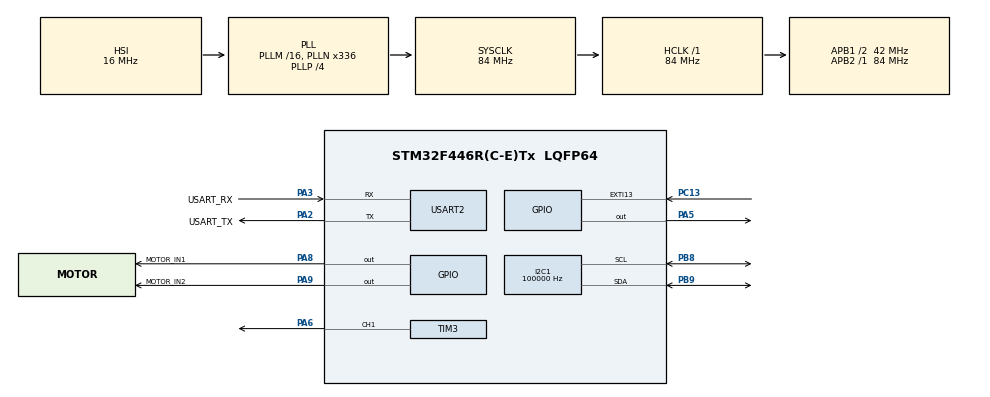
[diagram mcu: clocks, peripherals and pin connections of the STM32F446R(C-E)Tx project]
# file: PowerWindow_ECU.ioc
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FREERTOS.Queues01=windowCommandQueue,8,uint32_t,0,Dynamic,NULL,NULL
FREERTOS.Tasks01=InputTask,24,256,StartInputTask,Default,NULL,Dynamic,NULL,NULL;ControlTask,32,256,StartControlTask,Default,NULL,Dynamic,NULL,NULL;DiagTask,8,256,StartDiagTask,Default,NULL,Dynamic,NULL,NULL;CurrentTask,24,256,StartCurrentSenseTask,Default,NULL,Dynamic,NULL,NULL
FREERTOS.configUSE_NEWLIB_REENTRANT=1
I2C1.ClockSpeed=100000
Mcu.Family=STM32F4
Mcu.Name=STM32F446R(C-E)Tx
Mcu.Package=LQFP64
NUCLEO-F446RE.BUTTON=1
NUCLEO-F446RE.LD1=true
NVIC.EXTI15_10_IRQn=true\:5\:0\:false\:false\:true\:true\:false\:true\:true
NVIC.PriorityGroup=NVIC_PRIORITYGROUP_4
NVIC.TIM6_DAC_IRQn=true\:15\:0\:false\:false\:true\:false\:false\:true\:true
NVIC.TimeBase=TIM6_DAC_IRQn
NVIC.TimeBaseIP=TIM6
PA13.GPIO_Label=TMS
PA13.Signal=SYS_JTMS-SWDIO
PA14.GPIO_Label=TCK
PA14.Signal=SYS_JTCK-SWCLK
PA2.GPIO_Label=USART_TX
PA2.Mode=Asynchronous
PA2.Signal=USART2_TX
PA3.GPIO_Label=USART_RX
PA3.Mode=Asynchronous
PA3.Signal=USART2_RX
PA5.Signal=GPIO_Output
PA6.Signal=S_TIM3_CH1
PA8.GPIO_Label=MOTOR_IN1
PA8.Signal=GPIO_Output
PA9.GPIO_Label=MOTOR_IN2
PA9.Signal=GPIO_Output
PB3.GPIO_Label=SWO
PB3.Signal=SYS_JTDO-SWO
PB8.Mode=I2C
PB8.Signal=I2C1_SCL
PB9.Mode=I2C
PB9.Signal=I2C1_SDA
PC13.Signal=GPXTI13
PC14-OSC32_IN.Signal=RCC_OSC32_IN
PC15-OSC32_OUT.Signal=RCC_OSC32_OUT
PH0-OSC_IN.Signal=RCC_OSC_IN
PH1-OSC_OUT.Signal=RCC_OSC_OUT
ProjectManager.HeapSize=0x200
ProjectManager.StackSize=0x400
ProjectManager.TargetToolchain=STM32CubeIDE
RCC.AHBFreq_Value=84000000
RCC.APB1CLKDivider=RCC_HCLK_DIV2
RCC.APB1Freq_Value=42000000
RCC.APB1TimFreq_Value=84000000
RCC.APB2Freq_Value=84000000
RCC.APB2TimFreq_Value=84000000
RCC.CortexFreq_Value=84000000
RCC.FLatency-AdvancedSettings=FLASH_LATENCY_2
RCC.HCLKFreq_Value=84000000
RCC.HSE_VALUE=8000000
RCC.HSI_VALUE=16000000
RCC.LSE_VALUE=32768
RCC.PLLN=336
RCC.PLLP=RCC_PLLP_DIV4
RCC.SYSCLKFreq_VALUE=84000000
RCC.SYSCLKSource=RCC_SYSCLKSOURCE_PLLCLK
RCC.USBFreq_Value=168000000
RCC.VCOOutputFreq_Value=336000000
SH.S_TIM3_CH1.0=TIM3_CH1,PWM Generation1 CH1
TIM3.Channel-PWM\ Generation1\ CH1=TIM_CHANNEL_1
TIM3.Period=4199
USART2.VirtualMode=VM_ASYNC
VP_FREERTOS_VS_CMSIS_V2.Mode=CMSIS_V2
VP_NUCLEO-F446RE_VS_BSP_COMMON.Mode=COMMON
VP_SYS_VS_tim6.Mode=TIM6
board=NUCLEO-F446RE

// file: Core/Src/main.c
/* USER CODE BEGIN Header */
/**
  ******************************************************************************
  * @file           : main.c
  * @brief          : Main program body
  ******************************************************************************
  * @attention
  *
  * Copyright (c) 2026 STMicroelectronics.
  * All rights reserved.
  *
  * This software is licensed under terms that can be found in the LICENSE file
  * in the root directory of this software component.
  * If no LICENSE file comes with this software, it is provided AS-IS.
  *
  ******************************************************************************
  */
/* USER CODE END Header */
#include "main.h"
#include "cmsis_os.h"

/* USER CODE BEGIN Includes */
#include <stdio.h>
#include <string.h>
#include <stdlib.h>

/* USER CODE END Includes */

/* USER CODE BEGIN PTD */
typedef enum
{
	WINDOW_IDLE,
	WINDOW_MANUAL_UP,
	WINDOW_MANUAL_DOWN,
	WINDOW_AUTO_UP,
	WINDOW_AUTO_DOWN,
	WINDOW_ANTI_PINCH_REVERSE,
	WINDOW_FAULT
}WindowState_t;

typedef enum
{
	WINDOW_CMD_NONE = 0,
	WINDOW_CMD_TOGGLE,
	WINDOW_CMD_ANTI_PINCH
}WindowCommand_t;

/* USER CODE END PTD */

/* USER CODE BEGIN PD */
#define INA219_ADDR (0x40 << 1)

#define INA219_REG_SHUNT 0x01
#define INA219_REG_BUS 0x02

//#define ANTI_PINCH_THRESHOLD_MA_X10 800
#define ANTI_PINCH_COUNT_LIMIT 		3
#define ANTI_PINCH_BLANKING_MS 		300
#define ANTI_PINCH_REVERSE_MS 		1000
#define BASELINE_LEARNING_MS        1000
#define CURRENT_DELTA_THRESHOLD_X10 100
#define CURRENT_SLOPE_THRESHOLD_X10 80   // 8.0 mA/sample

#define CURRENT_FILTER_SIZE 5

/* USER CODE END PD */

I2C_HandleTypeDef hi2c1;

TIM_HandleTypeDef htim3;

UART_HandleTypeDef huart2;

/* Definitions for InputTask */
osThreadId_t InputTaskHandle;
const osThreadAttr_t InputTask_attributes = {
  .name = "InputTask",
  .stack_size = 256 * 4,
  .priority = (osPriority_t) osPriorityNormal,
};
/* Definitions for ControlTask */
osThreadId_t ControlTaskHandle;
const osThreadAttr_t ControlTask_attributes = {
  .name = "ControlTask",
  .stack_size = 256 * 4,
  .priority = (osPriority_t) osPriorityAboveNormal,
};
/* Definitions for DiagTask */
osThreadId_t DiagTaskHandle;
const osThreadAttr_t DiagTask_attributes = {
  .name = "DiagTask",
  .stack_size = 256 * 4,
  .priority = (osPriority_t) osPriorityLow,
};
/* Definitions for CurrentTask */
osThreadId_t CurrentTaskHandle;
const osThreadAttr_t CurrentTask_attributes = {
  .name = "CurrentTask",
  .stack_size = 256 * 4,
  .priority = (osPriority_t) osPriorityNormal,
};
/* Definitions for windowCommandQueue */
osMessageQueueId_t windowCommandQueueHandle;
const osMessageQueueAttr_t windowCommandQueue_attributes = {
  .name = "windowCommandQueue"
};
/* USER CODE BEGIN PV */
WindowState_t windowState = WINDOW_IDLE;

uint32_t prevButtonState = 0;
uint32_t lastButtonTick = 0;
uint32_t lastLedTick = 0;

uint32_t motorStartTick = 0;
uint8_t motorStarting = 0;
uint8_t motorRunning = 0;

uint8_t nextDirectionUp = 1;

uint32_t antiPinchStartTick = 0;

int32_t currentBuffer[CURRENT_FILTER_SIZE] = {0};
uint8_t currentIndex = 0;
uint8_t currentCount = 0;
int32_t currentSum = 0;
int32_t prevFilteredCurrent = 0;

int32_t baselineCurrent = 0;
int32_t baselineSum = 0;
uint16_t baselineCount = 0;
uint8_t baselineReady = 0;

/* USER CODE END PV */

void SystemClock_Config(void);
static void MX_GPIO_Init(void);
static void MX_USART2_UART_Init(void);
static void MX_TIM3_Init(void);
static void MX_I2C1_Init(void);
void StartInputTask(void *argument);
void StartControlTask(void *argument);
void StartDiagTask(void *argument);

/* USER CODE BEGIN PFP */
void Window_SetState(WindowState_t newState);
void Window_ButtonProcess(void);
void Window_ControlTask(void);

void Motor_SetDuty(uint8_t duty);
void Motor_Stop(void);
void Motor_RunUp(void);
void Motor_RunDown(void);

/* USER CODE END PFP */

/* USER CODE BEGIN 0 */
HAL_StatusTypeDef INA219_ReadRegister(uint8_t reg, uint16_t *value)
{
	uint8_t data[2];

	HAL_StatusTypeDef status = HAL_I2C_Mem_Read(&hi2c1, INA219_ADDR, reg, I2C_MEMADD_SIZE_8BIT, data, 2, 100);

	if (status == HAL_OK)
	{
		*value = ((uint16_t)data[0] << 8) | data[1];
	}

	return status;
}

int16_t INA219_ReadShuntRaw(void)
{
	uint16_t value = 0;

	if (INA219_ReadRegister(INA219_REG_SHUNT, &value) != HAL_OK)
	{
		return 0;
	}

	return (int16_t)value;
}

uint16_t INA219_ReadBusVoltage_mV(void)
{
	uint16_t raw = 0;

	if (INA219_ReadRegister(INA219_REG_BUS, &raw) != HAL_OK)
	{
		return 0;
	}

	raw >>= 3;

	return raw * 4;
}

void Current_FilterReset(void)
{
    for (int i = 0; i < CURRENT_FILTER_SIZE; i++)
    {
        currentBuffer[i] = 0;
    }

    currentIndex = 0;
    currentCount = 0;
    currentSum = 0;
    prevFilteredCurrent = 0;
}

int32_t Current_MovingAverage(int32_t newValue)
{
    currentSum -= currentBuffer[currentIndex];

    currentBuffer[currentIndex] = newValue;

    currentSum += newValue;

	currentIndex++;

	if (currentIndex >= CURRENT_FILTER_SIZE)
	{
		currentIndex = 0;
	}

	if (currentCount < CURRENT_FILTER_SIZE)
	{
		currentCount++;
	}

	return currentSum / currentCount;
}

void StartCurrentSenseTask(void *argument)
{
    char msg[] = "[RTOS] CurrentSenseTask Started\r\n";

    HAL_UART_Transmit(&huart2,
                      (uint8_t *)msg,
                      sizeof(msg) - 1,
                      HAL_MAX_DELAY);

    uint8_t overCurrentCount = 0;

    for (;;)
    {
        int16_t shuntRaw = INA219_ReadShuntRaw();
        int32_t current_mA_x10 = shuntRaw;

        if (windowState == WINDOW_MANUAL_UP)
        {
            uint32_t elapsed =
                HAL_GetTick() - motorStartTick;

            if (elapsed >= ANTI_PINCH_BLANKING_MS)
            {
                int32_t filteredCurrent = Current_MovingAverage(current_mA_x10);

                int32_t currentSlope = filteredCurrent - prevFilteredCurrent;

                prevFilteredCurrent = filteredCurrent;

                /*
                 * 1. Baseline 학습 구간
                 * 300 ms ~ 1300 ms
                 */
                if (elapsed <
                    ANTI_PINCH_BLANKING_MS +
                    BASELINE_LEARNING_MS)
                {
                    baselineSum += filteredCurrent;
                    baselineCount++;

                    baselineCurrent =
                        baselineSum / baselineCount;

                    overCurrentCount = 0;

                    char dbg[120];

					snprintf(
						dbg,
						sizeof(dbg),
						"[LEARN] Filtered=%ld.%01ld mA, Baseline=%ld.%01ld mA\r\n",
						filteredCurrent / 10,
						labs(filteredCurrent % 10),
						baselineCurrent / 10,
						labs(baselineCurrent % 10));

					HAL_UART_Transmit(
						&huart2,
						(uint8_t *)dbg,
						strlen(dbg),
						HAL_MAX_DELAY);
                }

                /*
                 * 2. Baseline 학습 완료
                 */
                else
                {
                    if (baselineReady == 0)
                    {
                        baselineReady = 1;

                        char dbg[100];

                        snprintf(
                            dbg,
                            sizeof(dbg),
                            "[BASELINE] Ready = %ld.%01ld mA\r\n",
                            baselineCurrent / 10,
                            labs(baselineCurrent % 10));

                        HAL_UART_Transmit(
                            &huart2,
                            (uint8_t *)dbg,
                            strlen(dbg),
                            HAL_MAX_DELAY);
                    }

                    int32_t threshold =
                        baselineCurrent +
                        CURRENT_DELTA_THRESHOLD_X10;

                    char dbg[140];

                    snprintf(dbg,
                             sizeof(dbg),
                             "[CURRENT] Raw=%ld.%01ld, Filt=%ld.%01ld, "
                             "Base=%ld.%01ld, Th=%ld.%01ld, dI=%ld.%01ld, Count=%u\r\n",

                             current_mA_x10 / 10,
                             labs(current_mA_x10 % 10),

                             filteredCurrent / 10,
                             labs(filteredCurrent % 10),

                             baselineCurrent / 10,
                             labs(baselineCurrent % 10),

                             threshold / 10,
                             labs(threshold % 10),

                             currentSlope / 10,
                             labs(currentSlope % 10),

                             overCurrentCount);

                    HAL_UART_Transmit(
                        &huart2,
                        (uint8_t *)dbg,
                        strlen(dbg),
                        HAL_MAX_DELAY);

                    /*
                     * 3. Adaptive anti-pinch 판단
                     */
                    if (filteredCurrent >= threshold)
                    {
                        overCurrentCount++;

                        if (overCurrentCount >=
                            ANTI_PINCH_COUNT_LIMIT)
                        {
                            WindowCommand_t cmd =
                                WINDOW_CMD_ANTI_PINCH;

                            osStatus_t status =
                                osMessageQueuePut(
                                    windowCommandQueueHandle,
                                    &cmd,
                                    0,
                                    0);

                            if (status == osOK)
                            {
                                char msg[] =
                                    "[ANTI-PINCH] EVENT QUEUED\r\n";

                                HAL_UART_Transmit(
                                    &huart2,
                                    (uint8_t *)msg,
                                    sizeof(msg) - 1,
                                    HAL_MAX_DELAY);
                            }

                            overCurrentCount = 0;
                        }
                    }
                    else
                    {
                        overCurrentCount = 0;
                    }
                }
            }
            else
            {
                overCurrentCount = 0;
            }
        }
        else
        {
            overCurrentCount = 0;
        }

        osDelay(50);
    }
}

void Window_SetState(WindowState_t newState)
{
	windowState = newState;

	switch(windowState)
	{
	case WINDOW_IDLE:
	{
		char msg[] = "[WINDOW] IDLE\r\n";

		HAL_UART_Transmit(&huart2, (uint8_t *)msg, sizeof(msg)-1, HAL_MAX_DELAY);

		break;
	}

	case WINDOW_MANUAL_UP:
	{

		char msg[] = "[WINDOW] MANUAL_UP\r\n";

		HAL_UART_Transmit(&huart2, (uint8_t *)msg, sizeof(msg)-1, HAL_MAX_DELAY);

		Current_FilterReset();

	    baselineCurrent = 0;
	    baselineSum = 0;
	    baselineCount = 0;
	    baselineReady = 0;

		break;
	}

	case WINDOW_MANUAL_DOWN:
	{
		char msg[] = "[WINDOW] MANUAL_DOWN\r\n";

		HAL_UART_Transmit(&huart2, (uint8_t *)msg, sizeof(msg)-1, HAL_MAX_DELAY);

		break;
	}

	case WINDOW_ANTI_PINCH_REVERSE:
	{
		char msg[] = "[WINDOW] ANTI_PINCH_REVERSE\r\n";

		HAL_UART_Transmit(&huart2, (uint8_t *)msg, sizeof(msg)-1, HAL_MAX_DELAY);

		Motor_Stop();
		antiPinchStartTick = HAL_GetTick();

		break;
	}
	default:
		break;
	}

}

void Window_ButtonProcess(void)
{
	uint32_t now = HAL_GetTick();
	uint32_t buttonState = BSP_PB_GetState(BUTTON_USER);

	if ((buttonState == 1) && (prevButtonState == 0) && (now - lastButtonTick >= 50))
	{
		lastButtonTick = now;

		WindowCommand_t cmd = WINDOW_CMD_TOGGLE;

		osMessageQueuePut(windowCommandQueueHandle, &cmd, 0, 0);
	}

	prevButtonState = buttonState;
}

void Window_ControlTask(void)
{
	switch (windowState)
	{
	case WINDOW_IDLE:
		Motor_Stop();
		break;

	case WINDOW_MANUAL_UP:
		Motor_RunUp();

		if(motorStarting && (HAL_GetTick() - motorStartTick >= 200))
		{
			Motor_SetDuty(50); //30
			motorStarting = 0;
		}
		break;

	case WINDOW_MANUAL_DOWN:
		Motor_RunDown();

		if (motorStarting && (HAL_GetTick() - motorStartTick >= 200))
		{
			Motor_SetDuty(30);
			motorStarting = 0;
		}

		break;

	case WINDOW_AUTO_UP:
		Motor_RunUp();
		break;

	case WINDOW_AUTO_DOWN:
		Motor_RunDown();
		break;

	case WINDOW_ANTI_PINCH_REVERSE:
		Motor_RunDown();

		if(HAL_GetTick() - antiPinchStartTick >= ANTI_PINCH_REVERSE_MS)
		{
			Window_SetState(WINDOW_IDLE);
		}
		break;

	case WINDOW_FAULT:
		Motor_Stop();
		break;

	default:
		Motor_Stop();
		Window_SetState(WINDOW_FAULT);
		break;
	}

}

void Motor_SetDuty(uint8_t duty)
{
	if (duty > 100)
	{
		duty = 100;
	}

	uint32_t period = __HAL_TIM_GET_AUTORELOAD(&htim3) + 1;
	uint32_t pulse = (period * duty) / 100;

	__HAL_TIM_SET_COMPARE(&htim3, TIM_CHANNEL_1, pulse);
}

void Motor_RunUp(void)
{
    HAL_GPIO_WritePin(MOTOR_IN1_GPIO_Port,
                      MOTOR_IN1_Pin,
                      GPIO_PIN_SET);

    HAL_GPIO_WritePin(MOTOR_IN2_GPIO_Port,
                      MOTOR_IN2_Pin,
                      GPIO_PIN_RESET);

    if (motorRunning == 0)
    {
    	Motor_SetDuty(50);
    	motorStartTick = HAL_GetTick();
    	motorStarting = 1;
    	motorRunning = 1;
    }
}

void Motor_RunDown(void)
{
    HAL_GPIO_WritePin(MOTOR_IN1_GPIO_Port,
                      MOTOR_IN1_Pin,
                      GPIO_PIN_RESET);

    HAL_GPIO_WritePin(MOTOR_IN2_GPIO_Port,
                      MOTOR_IN2_Pin,
                      GPIO_PIN_SET);

    if (motorRunning == 0)
    {
    	 Motor_SetDuty(50);

    	 motorStartTick = HAL_GetTick();
    	 motorStarting = 1;
    	 motorRunning = 1;

    }

}

void Motor_Stop(void)
{
    Motor_SetDuty(0);

    HAL_GPIO_WritePin(MOTOR_IN1_GPIO_Port,
                      MOTOR_IN1_Pin,
                      GPIO_PIN_RESET);

    HAL_GPIO_WritePin(MOTOR_IN2_GPIO_Port,
                      MOTOR_IN2_Pin,
                      GPIO_PIN_RESET);

    motorStarting = 0;
    motorRunning = 0;
}

/* USER CODE END 0 */

int main(void)
{

  /* MCU Configuration--------------------------------------------------------*/

  /* Reset of all peripherals, Initializes the Flash interface and the Systick. */
  HAL_Init();

  /* Configure the system clock */
  SystemClock_Config();

  /* Initialize all configured peripherals */
  MX_GPIO_Init();
  MX_USART2_UART_Init();
  MX_TIM3_Init();
  MX_I2C1_Init();
  /* USER CODE BEGIN 2 */

  char msg[] = "PowerWindow ECU Started\r\n";

  HAL_UART_Transmit(&huart2, (uint8_t *)msg, sizeof(msg) - 1, HAL_MAX_DELAY);

  HAL_TIM_PWM_Start(&htim3, TIM_CHANNEL_1);

  if (HAL_I2C_IsDeviceReady(&hi2c1,
                            INA219_ADDR,
                            3,
                            100) == HAL_OK)
  {
      char msg[] = "[INA219] Device Ready\r\n";

      HAL_UART_Transmit(&huart2,
                        (uint8_t *)msg,
                        sizeof(msg) - 1,
                        HAL_MAX_DELAY);
  }
  else
  {
      char msg[] = "[INA219] Device NOT Ready\r\n";

      HAL_UART_Transmit(&huart2,
                        (uint8_t *)msg,
                        sizeof(msg) - 1,
                        HAL_MAX_DELAY);
  }

  /* USER CODE END 2 */

  /* Init scheduler */
  osKernelInitialize();

  /* Create the queue(s) */
  /* creation of windowCommandQueue */
  windowCommandQueueHandle = osMessageQueueNew (8, sizeof(uint32_t), &windowCommandQueue_attributes);

  /* Create the thread(s) */
  /* creation of InputTask */
  InputTaskHandle = osThreadNew(StartInputTask, NULL, &InputTask_attributes);

  /* creation of ControlTask */
  ControlTaskHandle = osThreadNew(StartControlTask, NULL, &ControlTask_attributes);

  /* creation of DiagTask */
  DiagTaskHandle = osThreadNew(StartDiagTask, NULL, &DiagTask_attributes);

  /* creation of CurrentTask */
  CurrentTaskHandle = osThreadNew(StartCurrentSenseTask, NULL, &CurrentTask_attributes);

  /* Initialize leds */
  BSP_LED_Init(LED2);

  /* Initialize USER push-button, will be used to trigger an interrupt each time it's pressed.*/
  BSP_PB_Init(BUTTON_USER, BUTTON_MODE_GPIO);

  /* Start scheduler */
  osKernelStart();

  /* We should never get here as control is now taken by the scheduler */

  /* Infinite loop */
  /* USER CODE BEGIN WHILE */
  while (1)
  {

	  uint32_t now = HAL_GetTick();
	  /* LED periodic task : 500ms */
	  if (now - lastLedTick >= 500)
	  {
		  lastLedTick = now;
		  BSP_LED_Toggle(LED2);
	  }

    /* USER CODE END WHILE */

  }
}

void SystemClock_Config(void)
{
  RCC_OscInitTypeDef RCC_OscInitStruct = {0};
  RCC_ClkInitTypeDef RCC_ClkInitStruct = {0};

  /** Configure the main internal regulator output voltage
  */
  __HAL_RCC_PWR_CLK_ENABLE();
  __HAL_PWR_VOLTAGESCALING_CONFIG(PWR_REGULATOR_VOLTAGE_SCALE3);

  /** Initializes the RCC Oscillators according to the specified parameters
  * in the RCC_OscInitTypeDef structure.
  */
  RCC_OscInitStruct.OscillatorType = RCC_OSCILLATORTYPE_HSI;
  RCC_OscInitStruct.HSIState = RCC_HSI_ON;
  RCC_OscInitStruct.HSICalibrationValue = RCC_HSICALIBRATION_DEFAULT;
  RCC_OscInitStruct.PLL.PLLState = RCC_PLL_ON;
  RCC_OscInitStruct.PLL.PLLSource = RCC_PLLSOURCE_HSI;
  RCC_OscInitStruct.PLL.PLLM = 16;
  RCC_OscInitStruct.PLL.PLLN = 336;
  RCC_OscInitStruct.PLL.PLLP = RCC_PLLP_DIV4;
  RCC_OscInitStruct.PLL.PLLQ = 2;
  RCC_OscInitStruct.PLL.PLLR = 2;
  if (HAL_RCC_OscConfig(&RCC_OscInitStruct) != HAL_OK)
  {
    Error_Handler();
  }

  /** Initializes the CPU, AHB and APB buses clocks
  */
  RCC_ClkInitStruct.ClockType = RCC_CLOCKTYPE_HCLK|RCC_CLOCKTYPE_SYSCLK
                              |RCC_CLOCKTYPE_PCLK1|RCC_CLOCKTYPE_PCLK2;
  RCC_ClkInitStruct.SYSCLKSource = RCC_SYSCLKSOURCE_PLLCLK;
  RCC_ClkInitStruct.AHBCLKDivider = RCC_SYSCLK_DIV1;
  RCC_ClkInitStruct.APB1CLKDivider = RCC_HCLK_DIV2;
  RCC_ClkInitStruct.APB2CLKDivider = RCC_HCLK_DIV1;

  if (HAL_RCC_ClockConfig(&RCC_ClkInitStruct, FLASH_LATENCY_2) != HAL_OK)
  {
    Error_Handler();
  }
}

static void MX_I2C1_Init(void)
{

  hi2c1.Instance = I2C1;
  hi2c1.Init.ClockSpeed = 100000;
  hi2c1.Init.DutyCycle = I2C_DUTYCYCLE_2;
  hi2c1.Init.OwnAddress1 = 0;
  hi2c1.Init.AddressingMode = I2C_ADDRESSINGMODE_7BIT;
  hi2c1.Init.DualAddressMode = I2C_DUALADDRESS_DISABLE;
  hi2c1.Init.OwnAddress2 = 0;
  hi2c1.Init.GeneralCallMode = I2C_GENERALCALL_DISABLE;
  hi2c1.Init.NoStretchMode = I2C_NOSTRETCH_DISABLE;
  if (HAL_I2C_Init(&hi2c1) != HAL_OK)
  {
    Error_Handler();
  }

}

static void MX_TIM3_Init(void)
{

  TIM_MasterConfigTypeDef sMasterConfig = {0};
  TIM_OC_InitTypeDef sConfigOC = {0};

  htim3.Instance = TIM3;
  htim3.Init.Prescaler = 0;
  htim3.Init.CounterMode = TIM_COUNTERMODE_UP;
  htim3.Init.Period = 4199;
  htim3.Init.ClockDivision = TIM_CLOCKDIVISION_DIV1;
  htim3.Init.AutoReloadPreload = TIM_AUTORELOAD_PRELOAD_DISABLE;
  if (HAL_TIM_PWM_Init(&htim3) != HAL_OK)
  {
    Error_Handler();
  }
  sMasterConfig.MasterOutputTrigger = TIM_TRGO_RESET;
  sMasterConfig.MasterSlaveMode = TIM_MASTERSLAVEMODE_DISABLE;
  if (HAL_TIMEx_MasterConfigSynchronization(&htim3, &sMasterConfig) != HAL_OK)
  {
    Error_Handler();
  }
  sConfigOC.OCMode = TIM_OCMODE_PWM1;
  sConfigOC.Pulse = 0;
  sConfigOC.OCPolarity = TIM_OCPOLARITY_HIGH;
  sConfigOC.OCFastMode = TIM_OCFAST_DISABLE;
  if (HAL_TIM_PWM_ConfigChannel(&htim3, &sConfigOC, TIM_CHANNEL_1) != HAL_OK)
  {
    Error_Handler();
  }
  HAL_TIM_MspPostInit(&htim3);

}

static void MX_USART2_UART_Init(void)
{

  huart2.Instance = USART2;
  huart2.Init.BaudRate = 115200;
  huart2.Init.WordLength = UART_WORDLENGTH_8B;
  huart2.Init.StopBits = UART_STOPBITS_1;
  huart2.Init.Parity = UART_PARITY_NONE;
  huart2.Init.Mode = UART_MODE_TX_RX;
  huart2.Init.HwFlowCtl = UART_HWCONTROL_NONE;
  huart2.Init.OverSampling = UART_OVERSAMPLING_16;
  if (HAL_UART_Init(&huart2) != HAL_OK)
  {
    Error_Handler();
  }

}

static void MX_GPIO_Init(void)
{
  GPIO_InitTypeDef GPIO_InitStruct = {0};

  /* GPIO Ports Clock Enable */
  __HAL_RCC_GPIOC_CLK_ENABLE();
  __HAL_RCC_GPIOH_CLK_ENABLE();
  __HAL_RCC_GPIOA_CLK_ENABLE();
  __HAL_RCC_GPIOB_CLK_ENABLE();

  /*Configure GPIO pin Output Level */
  HAL_GPIO_WritePin(GPIOA, MOTOR_IN1_Pin|MOTOR_IN2_Pin, GPIO_PIN_RESET);

  /*Configure GPIO pins : MOTOR_IN1_Pin MOTOR_IN2_Pin */
  GPIO_InitStruct.Pin = MOTOR_IN1_Pin|MOTOR_IN2_Pin;
  GPIO_InitStruct.Mode = GPIO_MODE_OUTPUT_PP;
  GPIO_InitStruct.Pull = GPIO_NOPULL;
  GPIO_InitStruct.Speed = GPIO_SPEED_FREQ_LOW;
  HAL_GPIO_Init(GPIOA, &GPIO_InitStruct);

}

void StartInputTask(void *argument)
{
  /* USER CODE BEGIN 5 */
  /* Infinite loop */
  for(;;)
  {
	  Window_ButtonProcess();
	  osDelay(10);
  }
  /* USER CODE END 5 */
}

void StartControlTask(void *argument)
{
  /* USER CODE BEGIN StartControlTask */

    WindowCommand_t cmd;

    for (;;)
    {
        if (osMessageQueueGet(windowCommandQueueHandle,
                              &cmd,
                              NULL,
                              0) == osOK)
        {
            if (cmd == WINDOW_CMD_TOGGLE)
            {
                if (windowState == WINDOW_IDLE)
                {
                    /* 정지 상태라면 다음 방향으로 출발 */
                    if (nextDirectionUp)
                    {
                        Window_SetState(WINDOW_MANUAL_UP);
                    }
                    else
                    {
                        Window_SetState(WINDOW_MANUAL_DOWN);
                    }
                }
                else
                {
                    /* 움직이는 중이면 정지 */
                    Window_SetState(WINDOW_IDLE);

                    /* 다음 출발 방향 변경 */
                    nextDirectionUp = !nextDirectionUp;
                }
            }
            else if (cmd == WINDOW_CMD_ANTI_PINCH)
            {
            	if (windowState == WINDOW_MANUAL_UP)
            	{
            		Window_SetState(WINDOW_ANTI_PINCH_REVERSE);
            	}
            }
        }

        Window_ControlTask();

        osDelay(10);
    }

  /* USER CODE END StartControlTask */
}

void StartDiagTask(void *argument)
{
  /* USER CODE BEGIN StartDiagTask */
//	char msg[100];

  /* Infinite loop */
  for(;;)
  {
//	  int16_t shuntRaw = INA219_ReadShuntRaw();
//	  uint16_t bus_mV = INA219_ReadBusVoltage_mV();
//
//	  int32_t current_mA_x10 = shuntRaw;
//
//	  snprintf(msg, sizeof(msg), "[INA219] Bus=%u mV, Current=%ld.%01ld mA\r\n", bus_mV, current_mA_x10 / 10, labs(current_mA_x10 % 10));
//
//	  HAL_UART_Transmit(&huart2, (uint8_t *)msg, strlen(msg), HAL_MAX_DELAY);

	  osDelay(100);
  }
  /* USER CODE END StartDiagTask */
}

void HAL_TIM_PeriodElapsedCallback(TIM_HandleTypeDef *htim)
{
  if (htim->Instance == TIM6)
  {
    HAL_IncTick();
  }
}

void Error_Handler(void)
{
  __disable_irq();
  while (1)
  {
  }
}
